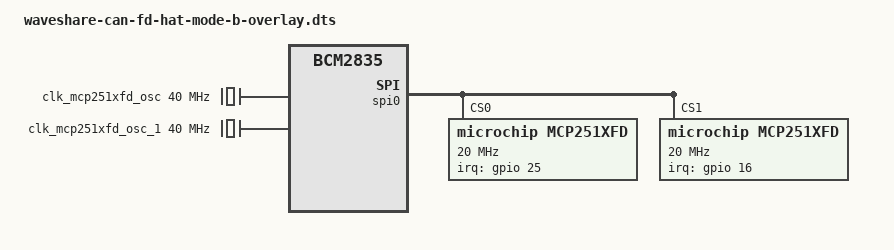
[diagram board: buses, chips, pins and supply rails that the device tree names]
// redo: ovmerge -c mcp251xfd-overlay.dts,spi0-0,interrupt=25 mcp251xfd-overlay.dts,spi0-1,interrupt=16

// Device tree overlay for https://www.waveshare.com/2-ch-can-fd-hat.htm
// in "Mode B" (requried hardware modification) configuration
// for details see https://www.waveshare.com/wiki/2-CH_CAN_FD_HAT


/dts-v1/;
/plugin/;

#include <dt-bindings/gpio/gpio.h>
#include <dt-bindings/interrupt-controller/irq.h>
#include <dt-bindings/pinctrl/bcm2835.h>

/ {
	compatible = "brcm,bcm2835";
	fragment@0 {
		target = <&spidev0>;
		__overlay__ {
			status = "disabled";
		};
	};
	fragment@1 {
		target = <&gpio>;
		__overlay__ {
			mcp251xfd_pins: mcp251xfd_spi0_0_pins {
				brcm,pins = <25>;
				brcm,function = <BCM2835_FSEL_GPIO_IN>;
			};
		};
	};
	fragment@2 {
		target-path = "/clocks";
		__overlay__ {
			clk_mcp251xfd_osc: mcp251xfd-spi0-0-osc {
				#clock-cells = <0>;
				compatible = "fixed-clock";
				clock-frequency = <40000000>;
			};
		};
	};
	fragment@3 {
		target = <&spi0>;
		__overlay__ {
			status = "okay";
			#address-cells = <1>;
			#size-cells = <0>;
			mcp251xfd@0 {
				compatible = "microchip,mcp251xfd";
				reg = <0>;
				pinctrl-names = "default";
				pinctrl-0 = <&mcp251xfd_pins>;
				spi-max-frequency = <20000000>;
				interrupt-parent = <&gpio>;
				interrupts = <25 IRQ_TYPE_LEVEL_LOW>;
				clocks = <&clk_mcp251xfd_osc>;
			};
		};
	};
	fragment@4 {
		target = <&spidev1>;
		__overlay__ {
			status = "disabled";
		};
	};
	fragment@5 {
		target = <&gpio>;
		__overlay__ {
			mcp251xfd_pins_1: mcp251xfd_spi0_1_pins {
				brcm,pins = <16>;
				brcm,function = <BCM2835_FSEL_GPIO_IN>;
			};
		};
	};
	fragment@6 {
		target-path = "/clocks";
		__overlay__ {
			clk_mcp251xfd_osc_1: mcp251xfd-spi0-1-osc {
				#clock-cells = <0>;
				compatible = "fixed-clock";
				clock-frequency = <40000000>;
			};
		};
	};
	fragment@7 {
		target = <&spi0>;
		__overlay__ {
			status = "okay";
			#address-cells = <1>;
			#size-cells = <0>;
			mcp251xfd@1 {
				compatible = "microchip,mcp251xfd";
				reg = <1>;
				pinctrl-names = "default";
				pinctrl-0 = <&mcp251xfd_pins_1>;
				spi-max-frequency = <20000000>;
				interrupt-parent = <&gpio>;
				interrupts = <16 IRQ_TYPE_LEVEL_LOW>;
				clocks = <&clk_mcp251xfd_osc_1>;
			};
		};
	};
};
